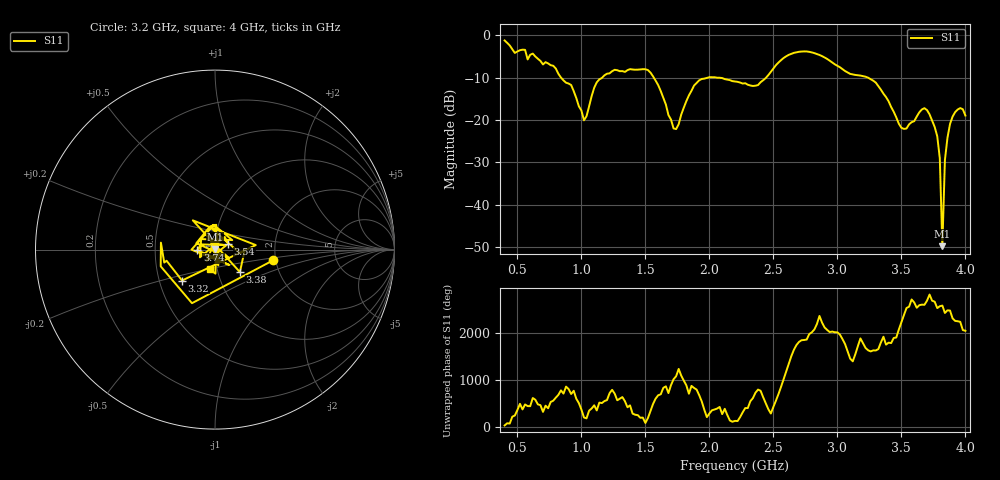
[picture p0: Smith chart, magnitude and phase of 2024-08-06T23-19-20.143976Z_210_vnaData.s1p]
!Created with skrf (http://scikit-rf.org).
# Hz S RI R 50.0
!freq ReS11 ImS11
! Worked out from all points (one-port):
!   181 points, 400 MHz to 4 GHz, reference 50 ohm
!   lowest |S11| = -49.8 dB at 3.82 GHz (marker M1), VSWR 1.01, Z = 50.1 + j0.314 ohm
!   |S11| at or under -10 dB: 1.566 GHz to 1.986 GHz (420.1 MHz wide, 23.7 % of centre); 2.077 GHz to 2.442 GHz (365.7 MHz wide, 16.2 % of centre); 3.24 GHz to end of sweep (the widest 3 of 4)
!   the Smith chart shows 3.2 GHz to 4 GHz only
!   S11 on the Smith chart (normalised r, x): 3.2 GHz: 1.94, -0.26; 3.32 GHz: 0.65, -0.24; 3.38 GHz: 1.27, -0.33; 3.54 GHz: 1.15, +0.07; 3.74 GHz: 0.82, -0.00; 4 GHz: 0.92, -0.20
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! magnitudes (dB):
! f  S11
! 400 MHz  -1.2
! 860 MHz  -10.6
! 920 MHz  -11.7
! 1.02 GHz  -20.1
! 1.12 GHz  -11.1
! 1.3 GHz  -8.5
! 1.52 GHz  -8.2
! 1.72 GHz  -22.0
! 1.76 GHz  -21.0
! 1.92 GHz  -10.6
! 2.2 GHz  -10.9
! 2.38 GHz  -11.7
! 2.66 GHz  -4.1
! 3.1 GHz  -9.1
! 3.2 GHz  -9.6
! 3.32 GHz  -12.0
! 3.38 GHz  -14.6
! 3.54 GHz  -22.0
! 3.56 GHz  -21.0
! 3.68 GHz  -17.2
! 3.74 GHz  -20.1
! 3.78 GHz  -23.8
! 3.8 GHz  -29.0
! 3.82 GHz  -49.8
! 3.84 GHz  -29.4
! 3.86 GHz  -24.2
! 3.92 GHz  -18.1
! 4 GHz  -18.9
